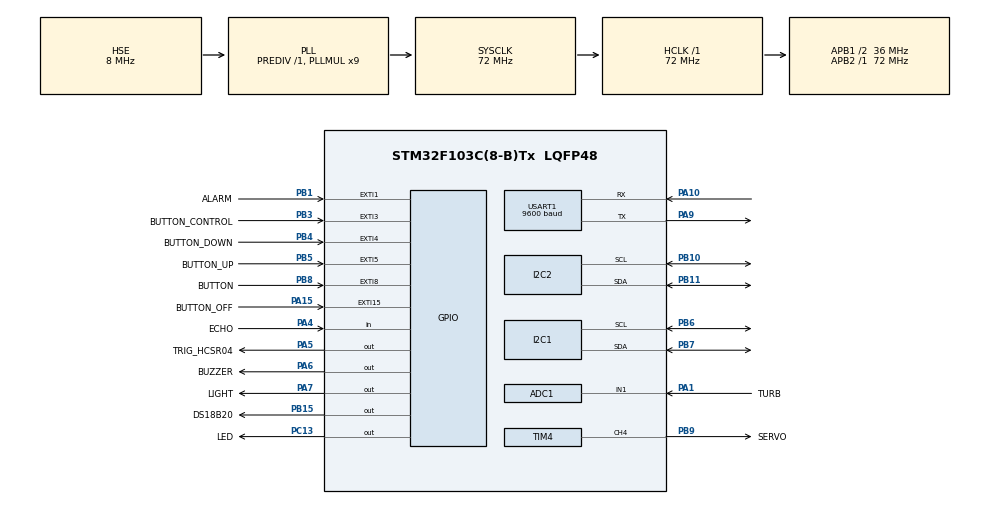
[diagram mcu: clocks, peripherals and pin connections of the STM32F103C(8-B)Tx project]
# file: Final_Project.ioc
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ADC1.Channel-0\#ChannelRegularConversion=ADC_CHANNEL_1
ADC1.NbrOfConversionFlag=1
ADC1.Rank-0\#ChannelRegularConversion=1
ADC1.SamplingTime-0\#ChannelRegularConversion=ADC_SAMPLETIME_1CYCLE_5
ADC1.master=1
Mcu.Family=STM32F1
Mcu.Name=STM32F103C(8-B)Tx
Mcu.Package=LQFP48
NVIC.EXTI15_10_IRQn=true\:0\:0\:false\:false\:true\:true\:true\:true
NVIC.EXTI1_IRQn=true\:0\:0\:false\:false\:true\:true\:true\:true
NVIC.EXTI3_IRQn=true\:0\:0\:false\:false\:true\:true\:true\:true
NVIC.EXTI4_IRQn=true\:0\:0\:false\:false\:true\:true\:true\:true
NVIC.EXTI9_5_IRQn=true\:0\:0\:false\:false\:true\:true\:true\:true
NVIC.PriorityGroup=NVIC_PRIORITYGROUP_4
NVIC.USART1_IRQn=true\:1\:0\:true\:false\:true\:true\:true\:true
PA0-WKUP.Mode=SYS_WakeUp0
PA0-WKUP.Signal=SYS_WKUP
PA1.GPIO_Label=TURB
PA1.Signal=ADCx_IN1
PA10.Mode=Asynchronous
PA10.Signal=USART1_RX
PA13.Mode=Serial_Wire
PA13.Signal=SYS_JTMS-SWDIO
PA14.Mode=Serial_Wire
PA14.Signal=SYS_JTCK-SWCLK
PA15.GPIO_Label=BUTTON_OFF
PA15.GPIO_ModeDefaultEXTI=GPIO_MODE_IT_FALLING
PA15.GPIO_PuPd=GPIO_PULLUP
PA15.Signal=GPXTI15
PA4.GPIO_Label=ECHO
PA4.Signal=GPIO_Input
PA5.GPIO_Label=TRIG_HCSR04
PA5.Signal=GPIO_Output
PA6.GPIO_Label=BUZZER
PA6.Signal=GPIO_Output
PA7.GPIO_Label=LIGHT
PA7.Signal=GPIO_Output
PA9.Mode=Asynchronous
PA9.Signal=USART1_TX
PB1.GPIO_Label=ALARM
PB1.GPIO_ModeDefaultEXTI=GPIO_MODE_IT_FALLING
PB1.GPIO_PuPd=GPIO_PULLUP
PB1.Signal=GPXTI1
PB10.Mode=I2C
PB10.Signal=I2C2_SCL
PB11.Mode=I2C
PB11.Signal=I2C2_SDA
PB15.GPIO_Label=DS18B20
PB15.Signal=GPIO_Output
PB3.GPIO_Label=BUTTON_CONTROL
PB3.GPIO_ModeDefaultEXTI=GPIO_MODE_IT_FALLING
PB3.GPIO_PuPd=GPIO_PULLUP
PB3.Signal=GPXTI3
PB4.GPIO_Label=BUTTON_DOWN
PB4.GPIO_PuPd=GPIO_PULLUP
PB4.Signal=GPXTI4
PB5.GPIO_Label=BUTTON_UP
PB5.GPIO_PuPd=GPIO_PULLUP
PB5.Signal=GPXTI5
PB6.Mode=I2C
PB6.Signal=I2C1_SCL
PB7.Mode=I2C
PB7.Signal=I2C1_SDA
PB8.GPIO_Label=BUTTON
PB8.GPIO_ModeDefaultEXTI=GPIO_MODE_IT_RISING
PB8.GPIO_PuPd=GPIO_PULLUP
PB8.Signal=GPXTI8
PB9.GPIO_Label=SERVO
PB9.Signal=S_TIM4_CH4
PC13-TAMPER-RTC.GPIO_Label=LED
PC13-TAMPER-RTC.Signal=GPIO_Output
PD0-OSC_IN.Mode=HSE-External-Oscillator
PD0-OSC_IN.Signal=RCC_OSC_IN
PD1-OSC_OUT.Mode=HSE-External-Oscillator
PD1-OSC_OUT.Signal=RCC_OSC_OUT
ProjectManager.HeapSize=0x200
ProjectManager.StackSize=0x400
ProjectManager.TargetToolchain=MDK-ARM V5
RCC.ADCPresc=RCC_ADCPCLK2_DIV6
RCC.AHBFreq_Value=72000000
RCC.APB1CLKDivider=RCC_HCLK_DIV2
RCC.APB1Freq_Value=36000000
RCC.APB1TimFreq_Value=72000000
RCC.APB2Freq_Value=72000000
RCC.APB2TimFreq_Value=72000000
RCC.HCLKFreq_Value=72000000
RCC.PLLMUL=RCC_PLL_MUL9
RCC.PLLSourceVirtual=RCC_PLLSOURCE_HSE
RCC.SYSCLKFreq_VALUE=72000000
RCC.SYSCLKSource=RCC_SYSCLKSOURCE_PLLCLK
RCC.USBFreq_Value=72000000
SH.ADCx_IN1.0=ADC1_IN1,IN1
SH.S_TIM4_CH4.0=TIM4_CH4,PWM Generation4 CH4
TIM1.Period=0xffff-1
TIM1.Prescaler=72-1
TIM2.Prescaler=71
TIM4.Channel-PWM\ Generation4\ CH4=TIM_CHANNEL_4
TIM4.Period=10000-1
TIM4.Prescaler=144-1
USART1.BaudRate=9600
USART1.VirtualMode=VM_ASYNC
VP_TIM1_VS_ClockSourceINT.Mode=Internal
VP_TIM2_VS_ClockSourceINT.Mode=Internal
VP_TIM4_VS_ClockSourceINT.Mode=Internal
board=custom

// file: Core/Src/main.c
/* USER CODE BEGIN Header */
/**
  ******************************************************************************
  * @file           : main.c
  * @brief          : Main program body
  ******************************************************************************
  * @attention
  *
  * Copyright (c) 2025 STMicroelectronics.
  * All rights reserved.
  *
  * This software is licensed under terms that can be found in the LICENSE file
  * in the root directory of this software component.
  * If no LICENSE file comes with this software, it is provided AS-IS.
  *
  ******************************************************************************
  */
/* USER CODE END Header */
#include "main.h"

/* USER CODE BEGIN Includes */
#include <stdio.h>
#include "DS18B20.h"
#include "CLCD_I2C.h"
#include "feeding.h"
#include "DS3231.h"
#include "lcd_state.h"
#include "string.h"

void read_sensors_data(void);
void process_turbidity(void);
void measure_food_level(void);
void handle_turbidity_warning(void);
void handle_uart_transmission(void);
void LCD_Update(void);

/* USER CODE END Includes */

ADC_HandleTypeDef hadc1;

I2C_HandleTypeDef hi2c1;
I2C_HandleTypeDef hi2c2;

TIM_HandleTypeDef htim1;
TIM_HandleTypeDef htim2;
TIM_HandleTypeDef htim4;

UART_HandleTypeDef huart1;

/* USER CODE BEGIN PV */
DS18B20_Name DS1;
float TEMP;
CLCD_I2C_Name LCD1;
uint32_t adcValue;
float voltage, turbidity;
DS3231_Time_t timenow;
char lcd_info_buffer[20];

LCD_State_t lcd_state = LCD_STATE_NORMAL;

uint32_t pMillis;		// 4 dong nay de khai bao ultrasonic
uint32_t Value1 = 0;
uint32_t Value2 = 0;
float Distance = 0.0f; // cm

float D_empty = 12.0f;   // cm
float D_full  = 7.0f;   // cm
float percent;

uint8_t is_turbidity_warning_active = 0;
uint8_t is_warning_silenced_by_user = 0;
uint32_t last_beep_toggle_time = 0;

char rec;
char buffer[100];
int i=0;

char uart_tx_buffer[100];
uint32_t last_uart_send_time = 0;
//#define UART_SEND_INTERVAL 3600000
#define UART_SEND_INTERVAL 60000

struct feeding_t feed = {
            .hi2c = &hi2c1,
            .htim = &htim4,
            .channel = TIM_CHANNEL_4,
            .alarm_time = {
                    .seconds = 0,
                    .minutes = 00,
                    .hour = 15,
            },
    };

/* USER CODE END PV */

void SystemClock_Config(void);
static void MX_GPIO_Init(void);
static void MX_I2C2_Init(void);
static void MX_TIM1_Init(void);
static void MX_ADC1_Init(void);
static void MX_I2C1_Init(void);
static void MX_TIM4_Init(void);
static void MX_TIM2_Init(void);
static void MX_USART1_UART_Init(void);

int main(void)
{

  /* MCU Configuration--------------------------------------------------------*/

  /* Reset of all peripherals, Initializes the Flash interface and the Systick. */
  HAL_Init();

  /* Configure the system clock */
  SystemClock_Config();

  /* Initialize all configured peripherals */
  MX_GPIO_Init();
  MX_I2C2_Init();
  MX_TIM1_Init();
  MX_ADC1_Init();
  MX_I2C1_Init();
  MX_TIM4_Init();
  MX_TIM2_Init();
  MX_USART1_UART_Init();
  /* USER CODE BEGIN 2 */
	CLCD_I2C_Init(&LCD1,&hi2c2, 0x4e, 16, 2);
	DS18B20_Init(&DS1, &htim1, DS18B20_GPIO_Port, DS18B20_Pin);
	feeding_Init(&feed);

	HAL_TIM_Base_Start(&htim2);  // dung cho ultra sonic
  HAL_GPIO_WritePin(TRIG_HCSR04_GPIO_Port, TRIG_HCSR04_Pin, GPIO_PIN_RESET);

  /* USER CODE END 2 */

  /* Infinite loop */
  while (1)
  {

    /* USER CODE BEGIN 3 */
		feeding_Handler();
    read_sensors_data();
    process_turbidity();
    measure_food_level();
    handle_turbidity_warning();
    LCD_Update();
    handle_uart_transmission();

  }
  /* USER CODE END 3 */
}

void SystemClock_Config(void)
{
  RCC_OscInitTypeDef RCC_OscInitStruct = {0};
  RCC_ClkInitTypeDef RCC_ClkInitStruct = {0};
  RCC_PeriphCLKInitTypeDef PeriphClkInit = {0};

  /** Initializes the RCC Oscillators according to the specified parameters
  * in the RCC_OscInitTypeDef structure.
  */
  RCC_OscInitStruct.OscillatorType = RCC_OSCILLATORTYPE_HSE;
  RCC_OscInitStruct.HSEState = RCC_HSE_ON;
  RCC_OscInitStruct.HSEPredivValue = RCC_HSE_PREDIV_DIV1;
  RCC_OscInitStruct.HSIState = RCC_HSI_ON;
  RCC_OscInitStruct.PLL.PLLState = RCC_PLL_ON;
  RCC_OscInitStruct.PLL.PLLSource = RCC_PLLSOURCE_HSE;
  RCC_OscInitStruct.PLL.PLLMUL = RCC_PLL_MUL9;
  if (HAL_RCC_OscConfig(&RCC_OscInitStruct) != HAL_OK)
  {
    Error_Handler();
  }

  /** Initializes the CPU, AHB and APB buses clocks
  */
  RCC_ClkInitStruct.ClockType = RCC_CLOCKTYPE_HCLK|RCC_CLOCKTYPE_SYSCLK
                              |RCC_CLOCKTYPE_PCLK1|RCC_CLOCKTYPE_PCLK2;
  RCC_ClkInitStruct.SYSCLKSource = RCC_SYSCLKSOURCE_PLLCLK;
  RCC_ClkInitStruct.AHBCLKDivider = RCC_SYSCLK_DIV1;
  RCC_ClkInitStruct.APB1CLKDivider = RCC_HCLK_DIV2;
  RCC_ClkInitStruct.APB2CLKDivider = RCC_HCLK_DIV1;

  if (HAL_RCC_ClockConfig(&RCC_ClkInitStruct, FLASH_LATENCY_2) != HAL_OK)
  {
    Error_Handler();
  }
  PeriphClkInit.PeriphClockSelection = RCC_PERIPHCLK_ADC;
  PeriphClkInit.AdcClockSelection = RCC_ADCPCLK2_DIV6;
  if (HAL_RCCEx_PeriphCLKConfig(&PeriphClkInit) != HAL_OK)
  {
    Error_Handler();
  }
}

static void MX_ADC1_Init(void)
{

  ADC_ChannelConfTypeDef sConfig = {0};

  /** Common config
  */
  hadc1.Instance = ADC1;
  hadc1.Init.ScanConvMode = ADC_SCAN_DISABLE;
  hadc1.Init.ContinuousConvMode = DISABLE;
  hadc1.Init.DiscontinuousConvMode = DISABLE;
  hadc1.Init.ExternalTrigConv = ADC_SOFTWARE_START;
  hadc1.Init.DataAlign = ADC_DATAALIGN_RIGHT;
  hadc1.Init.NbrOfConversion = 1;
  if (HAL_ADC_Init(&hadc1) != HAL_OK)
  {
    Error_Handler();
  }

  /** Configure Regular Channel
  */
  sConfig.Channel = ADC_CHANNEL_1;
  sConfig.Rank = ADC_REGULAR_RANK_1;
  sConfig.SamplingTime = ADC_SAMPLETIME_1CYCLE_5;
  if (HAL_ADC_ConfigChannel(&hadc1, &sConfig) != HAL_OK)
  {
    Error_Handler();
  }

}

static void MX_I2C1_Init(void)
{

  hi2c1.Instance = I2C1;
  hi2c1.Init.ClockSpeed = 100000;
  hi2c1.Init.DutyCycle = I2C_DUTYCYCLE_2;
  hi2c1.Init.OwnAddress1 = 0;
  hi2c1.Init.AddressingMode = I2C_ADDRESSINGMODE_7BIT;
  hi2c1.Init.DualAddressMode = I2C_DUALADDRESS_DISABLE;
  hi2c1.Init.OwnAddress2 = 0;
  hi2c1.Init.GeneralCallMode = I2C_GENERALCALL_DISABLE;
  hi2c1.Init.NoStretchMode = I2C_NOSTRETCH_DISABLE;
  if (HAL_I2C_Init(&hi2c1) != HAL_OK)
  {
    Error_Handler();
  }

}

static void MX_I2C2_Init(void)
{

  hi2c2.Instance = I2C2;
  hi2c2.Init.ClockSpeed = 100000;
  hi2c2.Init.DutyCycle = I2C_DUTYCYCLE_2;
  hi2c2.Init.OwnAddress1 = 0;
  hi2c2.Init.AddressingMode = I2C_ADDRESSINGMODE_7BIT;
  hi2c2.Init.DualAddressMode = I2C_DUALADDRESS_DISABLE;
  hi2c2.Init.OwnAddress2 = 0;
  hi2c2.Init.GeneralCallMode = I2C_GENERALCALL_DISABLE;
  hi2c2.Init.NoStretchMode = I2C_NOSTRETCH_DISABLE;
  if (HAL_I2C_Init(&hi2c2) != HAL_OK)
  {
    Error_Handler();
  }

}

static void MX_TIM1_Init(void)
{

  TIM_ClockConfigTypeDef sClockSourceConfig = {0};
  TIM_MasterConfigTypeDef sMasterConfig = {0};

  htim1.Instance = TIM1;
  htim1.Init.Prescaler = 72-1;
  htim1.Init.CounterMode = TIM_COUNTERMODE_UP;
  htim1.Init.Period = 0xffff-1;
  htim1.Init.ClockDivision = TIM_CLOCKDIVISION_DIV1;
  htim1.Init.RepetitionCounter = 0;
  htim1.Init.AutoReloadPreload = TIM_AUTORELOAD_PRELOAD_DISABLE;
  if (HAL_TIM_Base_Init(&htim1) != HAL_OK)
  {
    Error_Handler();
  }
  sClockSourceConfig.ClockSource = TIM_CLOCKSOURCE_INTERNAL;
  if (HAL_TIM_ConfigClockSource(&htim1, &sClockSourceConfig) != HAL_OK)
  {
    Error_Handler();
  }
  sMasterConfig.MasterOutputTrigger = TIM_TRGO_RESET;
  sMasterConfig.MasterSlaveMode = TIM_MASTERSLAVEMODE_DISABLE;
  if (HAL_TIMEx_MasterConfigSynchronization(&htim1, &sMasterConfig) != HAL_OK)
  {
    Error_Handler();
  }

}

static void MX_TIM2_Init(void)
{

  TIM_ClockConfigTypeDef sClockSourceConfig = {0};
  TIM_MasterConfigTypeDef sMasterConfig = {0};

  htim2.Instance = TIM2;
  htim2.Init.Prescaler = 71;
  htim2.Init.CounterMode = TIM_COUNTERMODE_UP;
  htim2.Init.Period = 65535;
  htim2.Init.ClockDivision = TIM_CLOCKDIVISION_DIV1;
  htim2.Init.AutoReloadPreload = TIM_AUTORELOAD_PRELOAD_DISABLE;
  if (HAL_TIM_Base_Init(&htim2) != HAL_OK)
  {
    Error_Handler();
  }
  sClockSourceConfig.ClockSource = TIM_CLOCKSOURCE_INTERNAL;
  if (HAL_TIM_ConfigClockSource(&htim2, &sClockSourceConfig) != HAL_OK)
  {
    Error_Handler();
  }
  sMasterConfig.MasterOutputTrigger = TIM_TRGO_RESET;
  sMasterConfig.MasterSlaveMode = TIM_MASTERSLAVEMODE_DISABLE;
  if (HAL_TIMEx_MasterConfigSynchronization(&htim2, &sMasterConfig) != HAL_OK)
  {
    Error_Handler();
  }

}

static void MX_TIM4_Init(void)
{

  TIM_ClockConfigTypeDef sClockSourceConfig = {0};
  TIM_MasterConfigTypeDef sMasterConfig = {0};
  TIM_OC_InitTypeDef sConfigOC = {0};

  htim4.Instance = TIM4;
  htim4.Init.Prescaler = 144-1;
  htim4.Init.CounterMode = TIM_COUNTERMODE_UP;
  htim4.Init.Period = 10000-1;
  htim4.Init.ClockDivision = TIM_CLOCKDIVISION_DIV1;
  htim4.Init.AutoReloadPreload = TIM_AUTORELOAD_PRELOAD_DISABLE;
  if (HAL_TIM_Base_Init(&htim4) != HAL_OK)
  {
    Error_Handler();
  }
  sClockSourceConfig.ClockSource = TIM_CLOCKSOURCE_INTERNAL;
  if (HAL_TIM_ConfigClockSource(&htim4, &sClockSourceConfig) != HAL_OK)
  {
    Error_Handler();
  }
  if (HAL_TIM_PWM_Init(&htim4) != HAL_OK)
  {
    Error_Handler();
  }
  sMasterConfig.MasterOutputTrigger = TIM_TRGO_RESET;
  sMasterConfig.MasterSlaveMode = TIM_MASTERSLAVEMODE_DISABLE;
  if (HAL_TIMEx_MasterConfigSynchronization(&htim4, &sMasterConfig) != HAL_OK)
  {
    Error_Handler();
  }
  sConfigOC.OCMode = TIM_OCMODE_PWM1;
  sConfigOC.Pulse = 0;
  sConfigOC.OCPolarity = TIM_OCPOLARITY_HIGH;
  sConfigOC.OCFastMode = TIM_OCFAST_DISABLE;
  if (HAL_TIM_PWM_ConfigChannel(&htim4, &sConfigOC, TIM_CHANNEL_4) != HAL_OK)
  {
    Error_Handler();
  }
  HAL_TIM_MspPostInit(&htim4);

}

static void MX_USART1_UART_Init(void)
{

  huart1.Instance = USART1;
  huart1.Init.BaudRate = 9600;
  huart1.Init.WordLength = UART_WORDLENGTH_8B;
  huart1.Init.StopBits = UART_STOPBITS_1;
  huart1.Init.Parity = UART_PARITY_NONE;
  huart1.Init.Mode = UART_MODE_TX_RX;
  huart1.Init.HwFlowCtl = UART_HWCONTROL_NONE;
  huart1.Init.OverSampling = UART_OVERSAMPLING_16;
  if (HAL_UART_Init(&huart1) != HAL_OK)
  {
    Error_Handler();
  }

}

static void MX_GPIO_Init(void)
{
  GPIO_InitTypeDef GPIO_InitStruct = {0};

  /* GPIO Ports Clock Enable */
  __HAL_RCC_GPIOC_CLK_ENABLE();
  __HAL_RCC_GPIOD_CLK_ENABLE();
  __HAL_RCC_GPIOA_CLK_ENABLE();
  __HAL_RCC_GPIOB_CLK_ENABLE();

  /*Configure GPIO pin Output Level */
  HAL_GPIO_WritePin(LED_GPIO_Port, LED_Pin, GPIO_PIN_RESET);

  /*Configure GPIO pin Output Level */
  HAL_GPIO_WritePin(GPIOA, TRIG_HCSR04_Pin|BUZZER_Pin|LIGHT_Pin, GPIO_PIN_RESET);

  /*Configure GPIO pin Output Level */
  HAL_GPIO_WritePin(DS18B20_GPIO_Port, DS18B20_Pin, GPIO_PIN_RESET);

  /*Configure GPIO pin : LED_Pin */
  GPIO_InitStruct.Pin = LED_Pin;
  GPIO_InitStruct.Mode = GPIO_MODE_OUTPUT_PP;
  GPIO_InitStruct.Pull = GPIO_NOPULL;
  GPIO_InitStruct.Speed = GPIO_SPEED_FREQ_LOW;
  HAL_GPIO_Init(LED_GPIO_Port, &GPIO_InitStruct);

  /*Configure GPIO pin : ECHO_Pin */
  GPIO_InitStruct.Pin = ECHO_Pin;
  GPIO_InitStruct.Mode = GPIO_MODE_INPUT;
  GPIO_InitStruct.Pull = GPIO_NOPULL;
  HAL_GPIO_Init(ECHO_GPIO_Port, &GPIO_InitStruct);

  /*Configure GPIO pins : TRIG_HCSR04_Pin BUZZER_Pin LIGHT_Pin */
  GPIO_InitStruct.Pin = TRIG_HCSR04_Pin|BUZZER_Pin|LIGHT_Pin;
  GPIO_InitStruct.Mode = GPIO_MODE_OUTPUT_PP;
  GPIO_InitStruct.Pull = GPIO_NOPULL;
  GPIO_InitStruct.Speed = GPIO_SPEED_FREQ_LOW;
  HAL_GPIO_Init(GPIOA, &GPIO_InitStruct);

  /*Configure GPIO pins : ALARM_Pin BUTTON_CONTROL_Pin */
  GPIO_InitStruct.Pin = ALARM_Pin|BUTTON_CONTROL_Pin;
  GPIO_InitStruct.Mode = GPIO_MODE_IT_FALLING;
  GPIO_InitStruct.Pull = GPIO_PULLUP;
  HAL_GPIO_Init(GPIOB, &GPIO_InitStruct);

  /*Configure GPIO pin : DS18B20_Pin */
  GPIO_InitStruct.Pin = DS18B20_Pin;
  GPIO_InitStruct.Mode = GPIO_MODE_OUTPUT_PP;
  GPIO_InitStruct.Pull = GPIO_NOPULL;
  GPIO_InitStruct.Speed = GPIO_SPEED_FREQ_LOW;
  HAL_GPIO_Init(DS18B20_GPIO_Port, &GPIO_InitStruct);

  /*Configure GPIO pin : BUTTON_OFF_Pin */
  GPIO_InitStruct.Pin = BUTTON_OFF_Pin;
  GPIO_InitStruct.Mode = GPIO_MODE_IT_FALLING;
  GPIO_InitStruct.Pull = GPIO_PULLUP;
  HAL_GPIO_Init(BUTTON_OFF_GPIO_Port, &GPIO_InitStruct);

  /*Configure GPIO pins : BUTTON_DOWN_Pin BUTTON_UP_Pin BUTTON_Pin */
  GPIO_InitStruct.Pin = BUTTON_DOWN_Pin|BUTTON_UP_Pin|BUTTON_Pin;
  GPIO_InitStruct.Mode = GPIO_MODE_IT_RISING;
  GPIO_InitStruct.Pull = GPIO_PULLUP;
  HAL_GPIO_Init(GPIOB, &GPIO_InitStruct);

  /* EXTI interrupt init*/
  HAL_NVIC_SetPriority(EXTI1_IRQn, 0, 0);
  HAL_NVIC_EnableIRQ(EXTI1_IRQn);

  HAL_NVIC_SetPriority(EXTI3_IRQn, 0, 0);
  HAL_NVIC_EnableIRQ(EXTI3_IRQn);

  HAL_NVIC_SetPriority(EXTI4_IRQn, 0, 0);
  HAL_NVIC_EnableIRQ(EXTI4_IRQn);

  HAL_NVIC_SetPriority(EXTI9_5_IRQn, 0, 0);
  HAL_NVIC_EnableIRQ(EXTI9_5_IRQn);

  HAL_NVIC_SetPriority(EXTI15_10_IRQn, 0, 0);
  HAL_NVIC_EnableIRQ(EXTI15_10_IRQn);

}

/* USER CODE BEGIN 4 */
void HAL_GPIO_EXTI_Callback(uint16_t GPIO_Pin)
{
    if (GPIO_Pin == BUTTON_CONTROL_Pin || GPIO_Pin == BUTTON_UP_Pin ||
        GPIO_Pin == BUTTON_DOWN_Pin || GPIO_Pin == BUTTON_Pin)
    {
				if (is_turbidity_warning_active)
        {
            is_turbidity_warning_active = 0;
            is_warning_silenced_by_user = 1;
            HAL_GPIO_WritePin(BUZZER_GPIO_Port, BUZZER_Pin, GPIO_PIN_RESET);
            lcd_state = LCD_STATE_NORMAL;

            return;
        }
    }

    feeding_ISR(GPIO_Pin);
}

void HAL_SYSTICK_Callback(void)
{
		// dong co quay trong 1s
		static uint32_t counter = 0;
    if(counter >= 1000) {
    	feed.IsFeed = 3;
        counter = 0;
    }
    if (feed.IsFeed == 2) {
        counter++;
    }
}

void HAL_UART_RxCpltCallback(UART_HandleTypeDef *huart)
{
  if (huart->Instance == USART1)
  {
    switch (rec)
    {
      case 'L':
				HAL_GPIO_WritePin(LIGHT_GPIO_Port, LIGHT_Pin, GPIO_PIN_SET);
				lcd_state = LCD_STATE_LIGHT_ON;
				lcd_timer = HAL_GetTick();
        break;

      case 'l':
				HAL_GPIO_WritePin(LIGHT_GPIO_Port, LIGHT_Pin, GPIO_PIN_RESET);
				lcd_state = LCD_STATE_LIGHT_OFF;
				lcd_timer = HAL_GetTick();
        break;

      case 'F':
				feeding_Alarm();
        break;

      default:
        break;
    }

    HAL_UART_Receive_IT(&huart1, (uint8_t *)&rec, 1);
  }
}

uint16_t Read_ADC(void) 														// Doc ADC
{
    uint16_t val = 0;
    HAL_ADC_Start(&hadc1);
    if (HAL_ADC_PollForConversion(&hadc1, 10) == HAL_OK)
    {
        val = HAL_ADC_GetValue(&hadc1);
    }
    HAL_ADC_Stop(&hadc1);
    return val;
}

uint32_t Read_ADC_Avg(uint8_t samples)			// Doc ADC lay nhieu mau
{
    uint32_t sum = 0;
    for(uint8_t i = 0; i < samples; i++)
    {
        HAL_ADC_Start(&hadc1);
        HAL_ADC_PollForConversion(&hadc1, 10);
        sum += HAL_ADC_GetValue(&hadc1);
        HAL_ADC_Stop(&hadc1);
    }
    return sum / samples;
}

void LCD_Update(void) {
    char buffer[20];

    if (is_turbidity_warning_active == 1)
    {
        CLCD_I2C_SetCursor(&LCD1, 0, 0);
        CLCD_I2C_WriteString(&LCD1, "  !!WARNING!!   ");
        CLCD_I2C_SetCursor(&LCD1, 0, 1);
        CLCD_I2C_WriteString(&LCD1, " TURBIDITY HIGH ");
        return;
    }

    switch(lcd_state) {
        case LCD_STATE_FEEDING:
            //CLCD_I2C_Clear(&LCD1);
            CLCD_I2C_SetCursor(&LCD1, 0, 0);
            CLCD_I2C_WriteString(&LCD1, "  FEEDING ...   ");
            CLCD_I2C_SetCursor(&LCD1, 0, 1);
            CLCD_I2C_WriteString(&LCD1, "                ");

            if (HAL_GetTick() - lcd_timer >= 1000) {
                lcd_state = LCD_STATE_NORMAL;
                CLCD_I2C_Clear(&LCD1);
            }
            break;

        case LCD_STATE_TIMESET:
            //CLCD_I2C_Clear(&LCD1);
            sprintf(buffer, "Set: %02d:%02d:%02d         ",
                    feed.alarm_time.hour,
                    feed.alarm_time.minutes,
                    feed.alarm_time.seconds);
            CLCD_I2C_SetCursor(&LCD1, 0, 0);
            CLCD_I2C_WriteString(&LCD1, buffer);
				    CLCD_I2C_SetCursor(&LCD1, 0, 1);
            CLCD_I2C_WriteString(&LCD1, "                ");

						if (HAL_GetTick() - lcd_timer >= 2000) {
                lcd_state = LCD_STATE_NORMAL;
                CLCD_I2C_Clear(&LCD1);
            }
            break;

        case LCD_STATE_INFO:
						sprintf(buffer, "Time: %02d:%02d:%02d    ",
            timenow.hour, timenow.minutes, timenow.seconds);
						CLCD_I2C_SetCursor(&LCD1, 0, 0);
						CLCD_I2C_WriteString(&LCD1, buffer);

						if (feed.IsAlarmEnabled == 1) {
							sprintf(buffer, "Alarm: %02d:00:00     ", feed.alarm_time.hour);
						} else {
								sprintf(buffer, "No set alarm    ");
						}
						CLCD_I2C_SetCursor(&LCD1, 0, 1);
						CLCD_I2C_WriteString(&LCD1, buffer);

            if (HAL_GetTick() - lcd_timer >= 2000) {
                lcd_state = LCD_STATE_NORMAL;
                CLCD_I2C_Clear(&LCD1);
            }
            break;

        case LCD_STATE_SET:
            CLCD_I2C_SetCursor(&LCD1, 0, 0);
            CLCD_I2C_WriteString(&LCD1, "Time's been set ");
            CLCD_I2C_SetCursor(&LCD1, 0, 1);
            CLCD_I2C_WriteString(&LCD1, "                ");

            if (HAL_GetTick() - lcd_timer >= 2000) {
                lcd_state = LCD_STATE_NORMAL;
                CLCD_I2C_Clear(&LCD1);
            }
            break;

        case LCD_STATE_SET_OFF:
            CLCD_I2C_SetCursor(&LCD1, 0, 0);
            CLCD_I2C_WriteString(&LCD1, "Alarm's deleted ");
				    CLCD_I2C_SetCursor(&LCD1, 0, 1);
            CLCD_I2C_WriteString(&LCD1, "                ");

						if (HAL_GetTick() - lcd_timer >= 2000) {
                lcd_state = LCD_STATE_NORMAL;
                CLCD_I2C_Clear(&LCD1);
            }
            break;

        case LCD_STATE_LIGHT_ON:
            CLCD_I2C_SetCursor(&LCD1, 0, 0);
            CLCD_I2C_WriteString(&LCD1, "  Light was on  ");
				    CLCD_I2C_SetCursor(&LCD1, 0, 1);
            CLCD_I2C_WriteString(&LCD1, "                ");

						if (HAL_GetTick() - lcd_timer >= 1000) {
                lcd_state = LCD_STATE_NORMAL;
                CLCD_I2C_Clear(&LCD1);
            }
            break;

        case LCD_STATE_LIGHT_OFF:
            CLCD_I2C_SetCursor(&LCD1, 0, 0);
            CLCD_I2C_WriteString(&LCD1, "  Light was off ");
				    CLCD_I2C_SetCursor(&LCD1, 0, 1);
            CLCD_I2C_WriteString(&LCD1, "                ");

						if (HAL_GetTick() - lcd_timer >= 1000) {
                lcd_state = LCD_STATE_NORMAL;
                CLCD_I2C_Clear(&LCD1);
            }
            break;

				case LCD_STATE_DISTANCE:
						sprintf(buffer, "Dist: %.1f cm   ", Distance);
						CLCD_I2C_SetCursor(&LCD1, 0, 0);
						CLCD_I2C_WriteString(&LCD1, buffer);

						sprintf(buffer, "Feed: %.0f%%      ", percent);
						CLCD_I2C_SetCursor(&LCD1, 0, 1);
						CLCD_I2C_WriteString(&LCD1, buffer);

						if (HAL_GetTick() - lcd_timer >= 10000) {
						lcd_state = LCD_STATE_NORMAL;
						CLCD_I2C_Clear(&LCD1);
						}
						break;

        case LCD_STATE_NORMAL:
        default:
            sprintf(buffer,"Temp: %.1f C       ", TEMP);
            CLCD_I2C_SetCursor(&LCD1, 0, 0);
            CLCD_I2C_WriteString(&LCD1, buffer);

            sprintf(buffer,"Turb: %.1f NTU      ", turbidity);
            CLCD_I2C_SetCursor(&LCD1, 0, 1);
            CLCD_I2C_WriteString(&LCD1, buffer);
            break;

    }
}

void HCSR04_Read(void)
{
  HAL_GPIO_WritePin(TRIG_HCSR04_GPIO_Port, TRIG_HCSR04_Pin, GPIO_PIN_SET);
  __HAL_TIM_SET_COUNTER(&htim2, 0);
  while (__HAL_TIM_GET_COUNTER(&htim2) < 10); // 10us pulse
  HAL_GPIO_WritePin(TRIG_HCSR04_GPIO_Port, TRIG_HCSR04_Pin, GPIO_PIN_RESET);

  pMillis = HAL_GetTick();
  while (!(HAL_GPIO_ReadPin(ECHO_GPIO_Port, ECHO_Pin)) && (HAL_GetTick() - pMillis) < 20);
  Value1 = __HAL_TIM_GET_COUNTER(&htim2);

  pMillis = HAL_GetTick();
  while ((HAL_GPIO_ReadPin(ECHO_GPIO_Port, ECHO_Pin)) && (HAL_GetTick() - pMillis) < 50);
  Value2 = __HAL_TIM_GET_COUNTER(&htim2);

  Distance = (float)(Value2 - Value1) * 0.034 / 2;
}

void read_sensors_data(void)
{
    DS3231_GetTime(&timenow);
    TEMP = DS18B20_ReadTemp(&DS1);
}

void process_turbidity(void)
{
    uint32_t avg_adc = Read_ADC_Avg(200);
    float voltage_raw = (avg_adc * 3.3f) / 4095.0f;
    float voltage = voltage_raw + 0.01f;

    turbidity = -900.4f * (voltage * voltage) - 336.302f * voltage + 2973.295f;
    //turbidity = 50.5;

    if (turbidity < 0)
    {
        turbidity = 0;
    }
    else if (turbidity > 1000)
    {
        turbidity = 1000;
    }
}

void measure_food_level(void)
{
    HCSR04_Read();
    percent = ((D_empty - Distance) / (D_empty - D_full)) * 100.0f;

    if (percent < 0) percent = 0;
    if (percent > 100) percent = 100;
}

void handle_turbidity_warning(void)
{
    if (turbidity >= 300 && !is_warning_silenced_by_user)
    {
        is_turbidity_warning_active = 1;

				if (HAL_GetTick() - last_beep_toggle_time >= 1000)
				{
						HAL_GPIO_TogglePin(BUZZER_GPIO_Port, BUZZER_Pin);
						last_beep_toggle_time = HAL_GetTick();
				}
    }
    else
    {
        is_turbidity_warning_active = 0;
        HAL_GPIO_WritePin(BUZZER_GPIO_Port, BUZZER_Pin, GPIO_PIN_RESET);

				if (turbidity < 1000) {
            is_warning_silenced_by_user = 0;
        }
    }
}

void handle_uart_transmission(void)
{
    if (HAL_GetTick() - last_uart_send_time >= UART_SEND_INTERVAL)
    {
        snprintf(uart_tx_buffer, sizeof(uart_tx_buffer),
                 "%.1f,%.1f,%.0f,%02d:%02d:%02d\r\n",
                 turbidity,
                 TEMP,
                 percent,
                 timenow.hour,
                 timenow.minutes,
                 timenow.seconds);

        HAL_UART_Transmit(&huart1, (uint8_t*)uart_tx_buffer, strlen(uart_tx_buffer), 1000);

        last_uart_send_time = HAL_GetTick();
    }
		HAL_UART_Receive_IT(&huart1, (uint8_t *)&rec, 1);
}

/* USER CODE END 4 */

void Error_Handler(void)
{
  __disable_irq();
  while (1)
  {
  }
}
